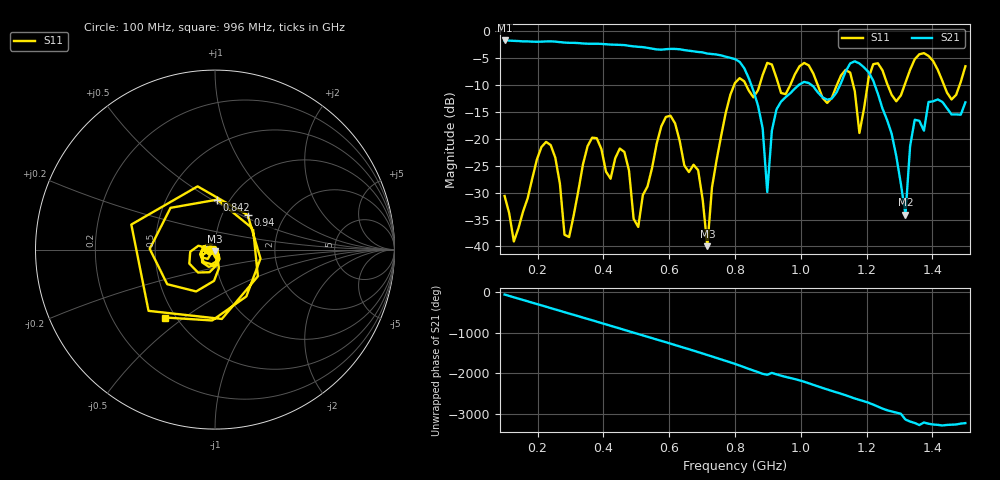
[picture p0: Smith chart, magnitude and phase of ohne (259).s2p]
! NanoVNA-App
! Date: 2025-09-25 14:22:49
! Start: 100MHz Stop: 1,5GHz Points: 101
! S-Parameter data: F S11 S21 S12 S22
# Hz S RI R 50
!  Frequency  S11_Real  S11_Imag  S21_Real  S21_Imag  S12_Real  S12_Imag  S22_Real  S22_Imag
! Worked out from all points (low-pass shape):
!   101 points, 100 MHz to 1.5 GHz, reference 50 ohm
!   highest |S21| = -1.79 dB at 100 MHz (marker M1); lowest = -34.1 dB at 1.318 GHz (marker M2)
!   |S21| within 3 dB of the highest: start of sweep to 771.6 MHz
!   lowest |S11| = -39.9 dB at 716 MHz (marker M3), VSWR 1.02, Z = 49.8 - j0.977 ohm
!   |S11| at or under -10 dB: start of sweep to 797.9 MHz; 833.1 MHz to 875.1 MHz (41.97 MHz wide, 4.91 % of centre); 1.051 GHz to 1.11 GHz (58.87 MHz wide, 5.45 % of centre) (the widest 3 of 7)
!   S12 and S22 are empty: the file has one direction only
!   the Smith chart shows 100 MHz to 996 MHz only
!   S11 on the Smith chart (normalised r, x): 100 MHz: 0.94, -0.01; 842 MHz: 0.88, +0.53; 940 MHz: 1.32, +0.55; 996 MHz: 0.44, -0.43
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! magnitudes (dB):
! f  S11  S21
! 100 MHz  -30.6  -1.8
! 128 MHz  -39.1  -1.9
! 226 MHz  -20.6  -2.0
! 296 MHz  -38.3  -2.2
! 338 MHz  -24.8  -2.4
! 464 MHz  -22.5  -2.7
! 506 MHz  -36.4  -3.0
! 576 MHz  -17.7  -3.5
! 688 MHz  -25.9  -3.9
! 716 MHz  -39.9  -4.2
! 800 MHz  -9.7  -5.3
! 842 MHz  -11.1  -8.8
! 898 MHz  -6.0  -29.9
! 940 MHz  -11.5  -13.1
! 996 MHz  -6.6  -9.9
! 1.038 GHz  -7.9  -10.3
! 1.178 GHz  -19.0  -6.1
! 1.22 GHz  -6.2  -9.3
! 1.276 GHz  -11.9  -19.1
! 1.318 GHz  -9.6  -34.1
! 1.346 GHz  -5.3  -16.5
! 1.5 GHz  -6.6  -13.3
